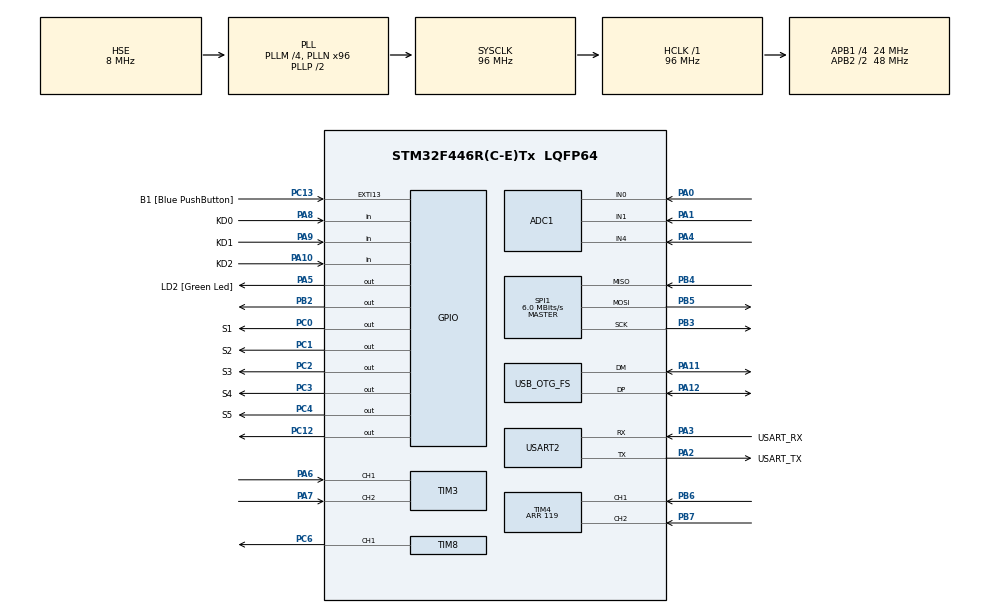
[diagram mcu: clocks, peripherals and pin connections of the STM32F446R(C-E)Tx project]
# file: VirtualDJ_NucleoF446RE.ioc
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ADC1.Channel-0\#ChannelRegularConversion=ADC_CHANNEL_0
ADC1.NbrOfConversionFlag=1
ADC1.Rank-0\#ChannelRegularConversion=1
ADC1.SamplingTime-0\#ChannelRegularConversion=ADC_SAMPLETIME_3CYCLES
ADC1.master=1
Dma.ADC1.0.Direction=DMA_PERIPH_TO_MEMORY
Dma.ADC1.0.FIFOMode=DMA_FIFOMODE_DISABLE
Dma.ADC1.0.Instance=DMA2_Stream0
Dma.ADC1.0.MemDataAlignment=DMA_MDATAALIGN_HALFWORD
Dma.ADC1.0.MemInc=DMA_MINC_ENABLE
Dma.ADC1.0.Mode=DMA_CIRCULAR
Dma.ADC1.0.PeriphDataAlignment=DMA_PDATAALIGN_HALFWORD
Dma.ADC1.0.PeriphInc=DMA_PINC_DISABLE
Dma.ADC1.0.Priority=DMA_PRIORITY_LOW
Dma.Request0=ADC1
Mcu.Family=STM32F4
Mcu.Name=STM32F446R(C-E)Tx
Mcu.Package=LQFP64
NVIC.DMA2_Stream0_IRQn=true\:0\:0\:false\:false\:true\:false\:true\:true
NVIC.OTG_FS_IRQn=true\:0\:0\:false\:false\:true\:false\:true\:true
NVIC.PriorityGroup=NVIC_PRIORITYGROUP_0
PA0-WKUP.Signal=ADCx_IN0
PA1.Signal=ADCx_IN1
PA10.GPIO_Label=KD2
PA10.Signal=GPIO_Input
PA11.Mode=Device_Only
PA11.Signal=USB_OTG_FS_DM
PA12.Mode=Device_Only
PA12.Signal=USB_OTG_FS_DP
PA13.GPIO_Label=TMS
PA13.Mode=Serial_Wire
PA13.Signal=SYS_JTMS-SWDIO
PA14.GPIO_Label=TCK
PA14.Mode=Serial_Wire
PA14.Signal=SYS_JTCK-SWCLK
PA2.GPIO_Label=USART_TX
PA2.Mode=Asynchronous
PA2.Signal=USART2_TX
PA3.GPIO_Label=USART_RX
PA3.Mode=Asynchronous
PA3.Signal=USART2_RX
PA4.Signal=ADCx_IN4
PA5.GPIO_Label=LD2 [Green Led]
PA5.Signal=GPIO_Output
PA6.Signal=S_TIM3_CH1
PA7.Signal=S_TIM3_CH2
PA8.GPIO_Label=KD0
PA8.Signal=GPIO_Input
PA9.GPIO_Label=KD1
PA9.Signal=GPIO_Input
PB2.Signal=GPIO_Output
PB3.Mode=Full_Duplex_Master
PB3.Signal=SPI1_SCK
PB4.Mode=Full_Duplex_Master
PB4.Signal=SPI1_MISO
PB5.Mode=Full_Duplex_Master
PB5.Signal=SPI1_MOSI
PB6.Signal=S_TIM4_CH1
PB7.Signal=S_TIM4_CH2
PC0.GPIO_Label=S1
PC0.Signal=GPIO_Output
PC1.GPIO_Label=S2
PC1.Signal=GPIO_Output
PC12.Signal=GPIO_Output
PC13.GPIO_Label=B1 [Blue PushButton]
PC13.GPIO_ModeDefaultEXTI=GPIO_MODE_IT_FALLING
PC13.Signal=GPXTI13
PC14-OSC32_IN.Mode=LSE-External-Oscillator
PC14-OSC32_IN.Signal=RCC_OSC32_IN
PC15-OSC32_OUT.Mode=LSE-External-Oscillator
PC15-OSC32_OUT.Signal=RCC_OSC32_OUT
PC2.GPIO_Label=S3
PC2.Signal=GPIO_Output
PC3.GPIO_Label=S4
PC3.Signal=GPIO_Output
PC4.GPIO_Label=S5
PC4.Signal=GPIO_Output
PC6.Signal=S_TIM8_CH1
PH0-OSC_IN.Mode=HSE-External-Clock-Source
PH0-OSC_IN.Signal=RCC_OSC_IN
PH1-OSC_OUT.Mode=HSE-External-Clock-Source
PH1-OSC_OUT.Signal=RCC_OSC_OUT
ProjectManager.HeapSize=0x200
ProjectManager.StackSize=0x400
ProjectManager.TargetToolchain=STM32CubeIDE
RCC.48MHZClocksFreq_Value=84000000
RCC.AHBFreq_Value=96000000
RCC.APB1CLKDivider=RCC_HCLK_DIV4
RCC.APB1Freq_Value=24000000
RCC.APB1TimFreq_Value=48000000
RCC.APB2CLKDivider=RCC_HCLK_DIV2
RCC.APB2Freq_Value=48000000
RCC.APB2TimFreq_Value=96000000
RCC.CortexFreq_Value=96000000
RCC.FLatency-AdvancedSettings=FLASH_LATENCY_3
RCC.HCLKFreq_Value=96000000
RCC.HSE_VALUE=8000000
RCC.HSI_VALUE=16000000
RCC.PLLM=4
RCC.PLLN=96
RCC.PLLQ=4
RCC.SYSCLKFreq_VALUE=96000000
RCC.SYSCLKSource=RCC_SYSCLKSOURCE_PLLCLK
RCC.USBFreq_Value=48000000
RCC.VCOOutputFreq_Value=192000000
SH.ADCx_IN0.0=ADC1_IN0,IN0
SH.ADCx_IN1.0=ADC1_IN1,IN1
SH.ADCx_IN4.0=ADC1_IN4,IN4
SH.S_TIM3_CH1.0=TIM3_CH1,Encoder_Interface
SH.S_TIM3_CH2.0=TIM3_CH2,Encoder_Interface
SH.S_TIM4_CH1.0=TIM4_CH1,Encoder_Interface
SH.S_TIM4_CH2.0=TIM4_CH2,Encoder_Interface
SH.S_TIM8_CH1.0=TIM8_CH1,Output Compare1 CH1
SPI1.BaudRatePrescaler=SPI_BAUDRATEPRESCALER_8
SPI1.CalculateBaudRate=6.0 MBits/s
SPI1.Direction=SPI_DIRECTION_2LINES
SPI1.Mode=SPI_MODE_MASTER
SPI1.VirtualType=VM_MASTER
TIM4.IC1Filter=0xf
TIM4.IC1Polarity=TIM_ICPOLARITY_FALLING
TIM4.IC2Filter=0xf
TIM4.IC2Polarity=TIM_ICPOLARITY_FALLING
TIM4.Period=119
TIM8.Channel-Output\ Compare1\ CH1=TIM_CHANNEL_1
TIM8.OCMode_1=TIM_OCMODE_INACTIVE
TIM8.Period=99
TIM8.Prescaler=9600
TIM8.Pulse-Output\ Compare1\ CH1=49
USART2.VirtualMode=VM_ASYNC
USB_DEVICE.CLASS_NAME_FS=AUDIO
USB_DEVICE.PRODUCT_STRING_AUDIO_FS=Pioneer CDJ-100S
USB_DEVICE.VID-AUDIO_FS=1154
USB_DEVICE.VirtualMode-AUDIO_FS=Audio
USB_DEVICE.VirtualModeFS=Audio_FS
USB_OTG_FS.VirtualMode=Device_Only
VP_TIM8_VS_ClockSourceINT.Mode=Internal
VP_USB_DEVICE_VS_USB_DEVICE_AUDIO_FS.Mode=AUDIO_FS
board=NUCLEO-F446RE

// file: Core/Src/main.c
/* USER CODE BEGIN Header */
/**
  ******************************************************************************
  * @file           : main.c
  * @brief          : Main program body
  ******************************************************************************
  * @attention
  *
  * Copyright (c) 2022 STMicroelectronics.
  * All rights reserved.
  *
  * This software is licensed under terms that can be found in the LICENSE file
  * in the root directory of this software component.
  * If no LICENSE file comes with this software, it is provided AS-IS.
  *
  ******************************************************************************
  */
/* USER CODE END Header */
#include "main.h"
#include "usb_device.h"

/* USER CODE BEGIN Includes */
#include "usbd_midi_if.h"
#include "button.h"
#include "keyhandler.h"
/* USER CODE END Includes */

ADC_HandleTypeDef hadc1;
DMA_HandleTypeDef hdma_adc1;

SPI_HandleTypeDef hspi1;

TIM_HandleTypeDef htim3;
TIM_HandleTypeDef htim4;
TIM_HandleTypeDef htim8;

UART_HandleTypeDef huart2;

/* USER CODE BEGIN PV */

GPIO_PinState buttonB1State;
GPIO_PinState buttonOut1State;
GPIO_PinState buttonOut2State;
GPIO_PinState buttonOut3State;
GPIO_PinState buttonOut4State;

volatile uint16_t JogCntr = 0u;

uint8_t Debug_JogCounter[480] = {0u};
uint16_t DebugIndex = 0u;

volatile uint16_t ADC_RawData[2u] = {0u};
float ADC_Voltage[2u];
/* USER CODE END PV */

void SystemClock_Config(void);
static void MX_GPIO_Init(void);
static void MX_DMA_Init(void);
static void MX_USART2_UART_Init(void);
static void MX_ADC1_Init(void);
static void MX_TIM3_Init(void);
static void MX_TIM4_Init(void);
static void MX_SPI1_Init(void);
static void MX_TIM8_Init(void);

int main(void)
{

  /* MCU Configuration--------------------------------------------------------*/

  /* Reset of all peripherals, Initializes the Flash interface and the Systick. */
  HAL_Init();

  /* Configure the system clock */
  SystemClock_Config();

  /* Initialize all configured peripherals */
  MX_GPIO_Init();
  MX_DMA_Init();
  MX_USART2_UART_Init();
  MX_USB_DEVICE_Init();
  MX_ADC1_Init();
  MX_TIM3_Init();
  MX_TIM4_Init();
  MX_SPI1_Init();
  MX_TIM8_Init();
  /* USER CODE BEGIN 2 */
  HAL_TIM_Encoder_Start(&htim4, TIM_CHANNEL_1 | TIM_CHANNEL_2);
  HAL_Delay(1);
  // Start PWM
  HAL_TIM_PWM_Start(&htim8, TIM_CHANNEL_1);

  /* USER CODE END 2 */

  /* Infinite loop */
  while (1)
  {

    /* USER CODE BEGIN 3 */

    // Read Pitch potmeter
    // Convert ADC raw data from last running
    for( uint16_t i = 0u; i < 7u; i++ )
    {
      ADC_Voltage[i] = (float)ADC_RawData[i] * 3.3f / 4096.0f;
    }
    HAL_ADC_Start_DMA(&hadc1, (uint32_t*)&ADC_RawData[0u], 7u);
    HAL_Delay(5u);
  }
  /* USER CODE END 3 */
}

void SystemClock_Config(void)
{
  RCC_OscInitTypeDef RCC_OscInitStruct = {0};
  RCC_ClkInitTypeDef RCC_ClkInitStruct = {0};

  /** Configure the main internal regulator output voltage
  */
  __HAL_RCC_PWR_CLK_ENABLE();
  __HAL_PWR_VOLTAGESCALING_CONFIG(PWR_REGULATOR_VOLTAGE_SCALE3);

  /** Initializes the RCC Oscillators according to the specified parameters
  * in the RCC_OscInitTypeDef structure.
  */
  RCC_OscInitStruct.OscillatorType = RCC_OSCILLATORTYPE_HSE;
  RCC_OscInitStruct.HSEState = RCC_HSE_BYPASS;
  RCC_OscInitStruct.PLL.PLLState = RCC_PLL_ON;
  RCC_OscInitStruct.PLL.PLLSource = RCC_PLLSOURCE_HSE;
  RCC_OscInitStruct.PLL.PLLM = 4;
  RCC_OscInitStruct.PLL.PLLN = 96;
  RCC_OscInitStruct.PLL.PLLP = RCC_PLLP_DIV2;
  RCC_OscInitStruct.PLL.PLLQ = 4;
  RCC_OscInitStruct.PLL.PLLR = 2;
  if (HAL_RCC_OscConfig(&RCC_OscInitStruct) != HAL_OK)
  {
    Error_Handler();
  }

  /** Initializes the CPU, AHB and APB buses clocks
  */
  RCC_ClkInitStruct.ClockType = RCC_CLOCKTYPE_HCLK|RCC_CLOCKTYPE_SYSCLK
                              |RCC_CLOCKTYPE_PCLK1|RCC_CLOCKTYPE_PCLK2;
  RCC_ClkInitStruct.SYSCLKSource = RCC_SYSCLKSOURCE_PLLCLK;
  RCC_ClkInitStruct.AHBCLKDivider = RCC_SYSCLK_DIV1;
  RCC_ClkInitStruct.APB1CLKDivider = RCC_HCLK_DIV4;
  RCC_ClkInitStruct.APB2CLKDivider = RCC_HCLK_DIV2;

  if (HAL_RCC_ClockConfig(&RCC_ClkInitStruct, FLASH_LATENCY_3) != HAL_OK)
  {
    Error_Handler();
  }
}

static void MX_ADC1_Init(void)
{

  ADC_ChannelConfTypeDef sConfig = {0};

  /** Configure the global features of the ADC (Clock, Resolution, Data Alignment and number of conversion)
  */
  hadc1.Instance = ADC1;
  hadc1.Init.ClockPrescaler = ADC_CLOCK_SYNC_PCLK_DIV2;
  hadc1.Init.Resolution = ADC_RESOLUTION_12B;
  hadc1.Init.ScanConvMode = DISABLE;
  hadc1.Init.ContinuousConvMode = DISABLE;
  hadc1.Init.DiscontinuousConvMode = DISABLE;
  hadc1.Init.ExternalTrigConvEdge = ADC_EXTERNALTRIGCONVEDGE_NONE;
  hadc1.Init.ExternalTrigConv = ADC_SOFTWARE_START;
  hadc1.Init.DataAlign = ADC_DATAALIGN_RIGHT;
  hadc1.Init.NbrOfConversion = 1;
  hadc1.Init.DMAContinuousRequests = DISABLE;
  hadc1.Init.EOCSelection = ADC_EOC_SINGLE_CONV;
  if (HAL_ADC_Init(&hadc1) != HAL_OK)
  {
    Error_Handler();
  }

  /** Configure for the selected ADC regular channel its corresponding rank in the sequencer and its sample time.
  */
  sConfig.Channel = ADC_CHANNEL_0;
  sConfig.Rank = 1;
  sConfig.SamplingTime = ADC_SAMPLETIME_3CYCLES;
  if (HAL_ADC_ConfigChannel(&hadc1, &sConfig) != HAL_OK)
  {
    Error_Handler();
  }

}

static void MX_SPI1_Init(void)
{

  /* SPI1 parameter configuration*/
  hspi1.Instance = SPI1;
  hspi1.Init.Mode = SPI_MODE_MASTER;
  hspi1.Init.Direction = SPI_DIRECTION_2LINES;
  hspi1.Init.DataSize = SPI_DATASIZE_8BIT;
  hspi1.Init.CLKPolarity = SPI_POLARITY_LOW;
  hspi1.Init.CLKPhase = SPI_PHASE_1EDGE;
  hspi1.Init.NSS = SPI_NSS_SOFT;
  hspi1.Init.BaudRatePrescaler = SPI_BAUDRATEPRESCALER_8;
  hspi1.Init.FirstBit = SPI_FIRSTBIT_MSB;
  hspi1.Init.TIMode = SPI_TIMODE_DISABLE;
  hspi1.Init.CRCCalculation = SPI_CRCCALCULATION_DISABLE;
  hspi1.Init.CRCPolynomial = 10;
  if (HAL_SPI_Init(&hspi1) != HAL_OK)
  {
    Error_Handler();
  }

}

static void MX_TIM3_Init(void)
{

  TIM_Encoder_InitTypeDef sConfig = {0};
  TIM_MasterConfigTypeDef sMasterConfig = {0};

  htim3.Instance = TIM3;
  htim3.Init.Prescaler = 0;
  htim3.Init.CounterMode = TIM_COUNTERMODE_UP;
  htim3.Init.Period = 65535;
  htim3.Init.ClockDivision = TIM_CLOCKDIVISION_DIV1;
  htim3.Init.AutoReloadPreload = TIM_AUTORELOAD_PRELOAD_DISABLE;
  sConfig.EncoderMode = TIM_ENCODERMODE_TI1;
  sConfig.IC1Polarity = TIM_ICPOLARITY_RISING;
  sConfig.IC1Selection = TIM_ICSELECTION_DIRECTTI;
  sConfig.IC1Prescaler = TIM_ICPSC_DIV1;
  sConfig.IC1Filter = 0;
  sConfig.IC2Polarity = TIM_ICPOLARITY_RISING;
  sConfig.IC2Selection = TIM_ICSELECTION_DIRECTTI;
  sConfig.IC2Prescaler = TIM_ICPSC_DIV1;
  sConfig.IC2Filter = 0;
  if (HAL_TIM_Encoder_Init(&htim3, &sConfig) != HAL_OK)
  {
    Error_Handler();
  }
  sMasterConfig.MasterOutputTrigger = TIM_TRGO_RESET;
  sMasterConfig.MasterSlaveMode = TIM_MASTERSLAVEMODE_DISABLE;
  if (HAL_TIMEx_MasterConfigSynchronization(&htim3, &sMasterConfig) != HAL_OK)
  {
    Error_Handler();
  }

}

static void MX_TIM4_Init(void)
{

  TIM_Encoder_InitTypeDef sConfig = {0};
  TIM_MasterConfigTypeDef sMasterConfig = {0};

  htim4.Instance = TIM4;
  htim4.Init.Prescaler = 0;
  htim4.Init.CounterMode = TIM_COUNTERMODE_UP;
  htim4.Init.Period = 119;
  htim4.Init.ClockDivision = TIM_CLOCKDIVISION_DIV1;
  htim4.Init.AutoReloadPreload = TIM_AUTORELOAD_PRELOAD_DISABLE;
  sConfig.EncoderMode = TIM_ENCODERMODE_TI1;
  sConfig.IC1Polarity = TIM_ICPOLARITY_FALLING;
  sConfig.IC1Selection = TIM_ICSELECTION_DIRECTTI;
  sConfig.IC1Prescaler = TIM_ICPSC_DIV1;
  sConfig.IC1Filter = 0xf;
  sConfig.IC2Polarity = TIM_ICPOLARITY_FALLING;
  sConfig.IC2Selection = TIM_ICSELECTION_DIRECTTI;
  sConfig.IC2Prescaler = TIM_ICPSC_DIV1;
  sConfig.IC2Filter = 0xf;
  if (HAL_TIM_Encoder_Init(&htim4, &sConfig) != HAL_OK)
  {
    Error_Handler();
  }
  sMasterConfig.MasterOutputTrigger = TIM_TRGO_RESET;
  sMasterConfig.MasterSlaveMode = TIM_MASTERSLAVEMODE_DISABLE;
  if (HAL_TIMEx_MasterConfigSynchronization(&htim4, &sMasterConfig) != HAL_OK)
  {
    Error_Handler();
  }

}

static void MX_TIM8_Init(void)
{

  TIM_ClockConfigTypeDef sClockSourceConfig = {0};
  TIM_MasterConfigTypeDef sMasterConfig = {0};
  TIM_OC_InitTypeDef sConfigOC = {0};
  TIM_BreakDeadTimeConfigTypeDef sBreakDeadTimeConfig = {0};

  htim8.Instance = TIM8;
  htim8.Init.Prescaler = 9600;
  htim8.Init.CounterMode = TIM_COUNTERMODE_UP;
  htim8.Init.Period = 99;
  htim8.Init.ClockDivision = TIM_CLOCKDIVISION_DIV1;
  htim8.Init.RepetitionCounter = 0;
  htim8.Init.AutoReloadPreload = TIM_AUTORELOAD_PRELOAD_DISABLE;
  if (HAL_TIM_Base_Init(&htim8) != HAL_OK)
  {
    Error_Handler();
  }
  sClockSourceConfig.ClockSource = TIM_CLOCKSOURCE_INTERNAL;
  if (HAL_TIM_ConfigClockSource(&htim8, &sClockSourceConfig) != HAL_OK)
  {
    Error_Handler();
  }
  if (HAL_TIM_OC_Init(&htim8) != HAL_OK)
  {
    Error_Handler();
  }
  sMasterConfig.MasterOutputTrigger = TIM_TRGO_RESET;
  sMasterConfig.MasterSlaveMode = TIM_MASTERSLAVEMODE_DISABLE;
  if (HAL_TIMEx_MasterConfigSynchronization(&htim8, &sMasterConfig) != HAL_OK)
  {
    Error_Handler();
  }
  sConfigOC.OCMode = TIM_OCMODE_INACTIVE;
  sConfigOC.Pulse = 49;
  sConfigOC.OCPolarity = TIM_OCPOLARITY_HIGH;
  sConfigOC.OCNPolarity = TIM_OCNPOLARITY_HIGH;
  sConfigOC.OCFastMode = TIM_OCFAST_DISABLE;
  sConfigOC.OCIdleState = TIM_OCIDLESTATE_RESET;
  sConfigOC.OCNIdleState = TIM_OCNIDLESTATE_RESET;
  if (HAL_TIM_OC_ConfigChannel(&htim8, &sConfigOC, TIM_CHANNEL_1) != HAL_OK)
  {
    Error_Handler();
  }
  sBreakDeadTimeConfig.OffStateRunMode = TIM_OSSR_DISABLE;
  sBreakDeadTimeConfig.OffStateIDLEMode = TIM_OSSI_DISABLE;
  sBreakDeadTimeConfig.LockLevel = TIM_LOCKLEVEL_OFF;
  sBreakDeadTimeConfig.DeadTime = 0;
  sBreakDeadTimeConfig.BreakState = TIM_BREAK_DISABLE;
  sBreakDeadTimeConfig.BreakPolarity = TIM_BREAKPOLARITY_HIGH;
  sBreakDeadTimeConfig.AutomaticOutput = TIM_AUTOMATICOUTPUT_DISABLE;
  if (HAL_TIMEx_ConfigBreakDeadTime(&htim8, &sBreakDeadTimeConfig) != HAL_OK)
  {
    Error_Handler();
  }
  HAL_TIM_MspPostInit(&htim8);

}

static void MX_USART2_UART_Init(void)
{

  huart2.Instance = USART2;
  huart2.Init.BaudRate = 115200;
  huart2.Init.WordLength = UART_WORDLENGTH_8B;
  huart2.Init.StopBits = UART_STOPBITS_1;
  huart2.Init.Parity = UART_PARITY_NONE;
  huart2.Init.Mode = UART_MODE_TX_RX;
  huart2.Init.HwFlowCtl = UART_HWCONTROL_NONE;
  huart2.Init.OverSampling = UART_OVERSAMPLING_16;
  if (HAL_UART_Init(&huart2) != HAL_OK)
  {
    Error_Handler();
  }

}

static void MX_DMA_Init(void)
{

  /* DMA controller clock enable */
  __HAL_RCC_DMA2_CLK_ENABLE();

  /* DMA interrupt init */
  /* DMA2_Stream0_IRQn interrupt configuration */
  HAL_NVIC_SetPriority(DMA2_Stream0_IRQn, 0, 0);
  HAL_NVIC_EnableIRQ(DMA2_Stream0_IRQn);

}

static void MX_GPIO_Init(void)
{
  GPIO_InitTypeDef GPIO_InitStruct = {0};

  /* GPIO Ports Clock Enable */
  __HAL_RCC_GPIOC_CLK_ENABLE();
  __HAL_RCC_GPIOH_CLK_ENABLE();
  __HAL_RCC_GPIOA_CLK_ENABLE();
  __HAL_RCC_GPIOB_CLK_ENABLE();

  /*Configure GPIO pin Output Level */
  HAL_GPIO_WritePin(GPIOC, S1_Pin|S2_Pin|S3_Pin|S4_Pin
                          |S5_Pin|GPIO_PIN_12, GPIO_PIN_RESET);

  /*Configure GPIO pin Output Level */
  HAL_GPIO_WritePin(LD2_GPIO_Port, LD2_Pin, GPIO_PIN_RESET);

  /*Configure GPIO pin Output Level */
  HAL_GPIO_WritePin(GPIOB, GPIO_PIN_2, GPIO_PIN_RESET);

  /*Configure GPIO pin : B1_Pin */
  GPIO_InitStruct.Pin = B1_Pin;
  GPIO_InitStruct.Mode = GPIO_MODE_IT_FALLING;
  GPIO_InitStruct.Pull = GPIO_NOPULL;
  HAL_GPIO_Init(B1_GPIO_Port, &GPIO_InitStruct);

  /*Configure GPIO pins : S1_Pin S2_Pin S3_Pin S4_Pin
                           S5_Pin PC12 */
  GPIO_InitStruct.Pin = S1_Pin|S2_Pin|S3_Pin|S4_Pin
                          |S5_Pin|GPIO_PIN_12;
  GPIO_InitStruct.Mode = GPIO_MODE_OUTPUT_PP;
  GPIO_InitStruct.Pull = GPIO_NOPULL;
  GPIO_InitStruct.Speed = GPIO_SPEED_FREQ_LOW;
  HAL_GPIO_Init(GPIOC, &GPIO_InitStruct);

  /*Configure GPIO pin : LD2_Pin */
  GPIO_InitStruct.Pin = LD2_Pin;
  GPIO_InitStruct.Mode = GPIO_MODE_OUTPUT_PP;
  GPIO_InitStruct.Pull = GPIO_NOPULL;
  GPIO_InitStruct.Speed = GPIO_SPEED_FREQ_LOW;
  HAL_GPIO_Init(LD2_GPIO_Port, &GPIO_InitStruct);

  /*Configure GPIO pin : PB2 */
  GPIO_InitStruct.Pin = GPIO_PIN_2;
  GPIO_InitStruct.Mode = GPIO_MODE_OUTPUT_PP;
  GPIO_InitStruct.Pull = GPIO_NOPULL;
  GPIO_InitStruct.Speed = GPIO_SPEED_FREQ_LOW;
  HAL_GPIO_Init(GPIOB, &GPIO_InitStruct);

  /*Configure GPIO pins : KD0_Pin KD1_Pin KD2_Pin */
  GPIO_InitStruct.Pin = KD0_Pin|KD1_Pin|KD2_Pin;
  GPIO_InitStruct.Mode = GPIO_MODE_INPUT;
  GPIO_InitStruct.Pull = GPIO_NOPULL;
  HAL_GPIO_Init(GPIOA, &GPIO_InitStruct);

}

void Error_Handler(void)
{
  __disable_irq();
  while (1)
  {
  }
}
